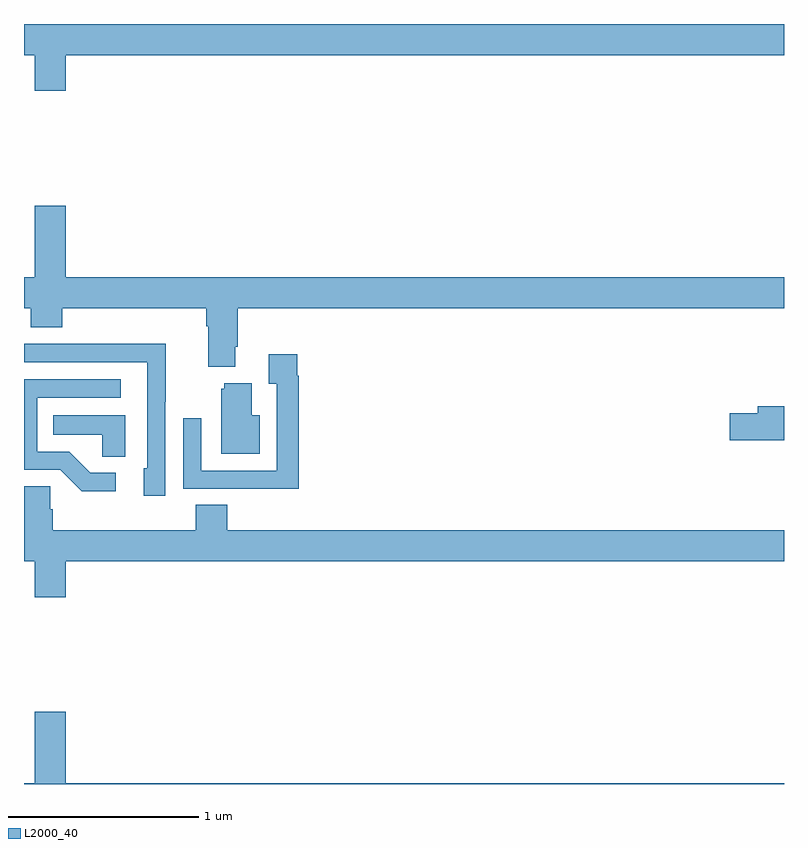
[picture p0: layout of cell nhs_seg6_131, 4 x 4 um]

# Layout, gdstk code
import gdstk
lib = gdstk.Library(unit=1e-6, precision=1e-09)
def P(c, l, *ps):  # polygons
    for p in ps: c.add(gdstk.Polygon(p, *l))
L2000_40 = (2000, 40)

nhs_seg6_131 = lib.new_cell('nhs_seg6_131')
P(nhs_seg6_131, L2000_40, [(117.22,947.336),(121,947.336),(121,947.5),(117,947.5),(117,947.336),(117.056,947.336),(117.056,947.148),(117.22,947.148)],
  [(118.111,945.802),(118.124,945.802),(118.124,946.004),(121,946.004),(121,946.168),(117.22,946.168),(117.22,946.543),(117.056,946.543),(117.056,946.168),(117,946.168),(117,946.004),(117.035,946.004),(117.035,945.905),(117.2,945.905),(117.2,946.004),(117.959,946.004),(117.959,945.908),(117.971,945.908),(117.971,945.695),(118.111,945.695)],
  [(117.744,945.511),(117.747,945.511),(117.747,945.818),(117.283,945.818),(117.283,945.816),(117,945.816),(117,945.72),(117.648,945.72),(117.648,945.162),(117.629,945.162),(117.629,945.018),(117.744,945.018)],
  [(118.445,945.65),(118.438,945.65),(118.438,945.763),(118.289,945.763),(118.289,945.607),(118.329,945.607),(118.329,945.15),(117.933,945.15),(117.933,945.424),(117.837,945.424),(117.837,945.054),(118.153,945.054),(118.153,945.053),(118.445,945.053)],
  [(117.484,945.138),(117.349,945.138),(117.238,945.249),(117.069,945.249),(117.069,945.534),(117.508,945.534),(117.508,945.63),(117,945.63),(117,945.153),(117.192,945.153),(117.305,945.041),(117.484,945.041)],
  [(118.24,945.442),(118.198,945.442),(118.198,945.61),(118.055,945.61),(118.055,945.579),(118.037,945.579),(118.037,945.239),(118.24,945.239)],
  [(121,945.488),(120.863,945.488),(120.863,945.452),(120.714,945.452),(120.714,945.31),(121,945.31)],
  [(117.532,945.442),(117.154,945.442),(117.154,945.338),(117.411,945.338),(117.411,945.223),(117.532,945.223)],
  [(117.22,944.672),(121,944.672),(121,944.836),(118.07,944.836),(118.07,944.969),(117.905,944.969),(117.905,944.836),(117.152,944.836),(117.152,944.945),(117.138,944.945),(117.138,945.068),(117,945.068),(117,944.672),(117.056,944.672),(117.056,944.484),(117.22,944.484)],
  [(121,943.504),(117.22,943.504),(117.22,943.879),(117.056,943.879),(117.056,943.504),(117,943.504),(117,943.5),(121,943.5)])

lib.write_gds('nhs_seg6_131.gds')
